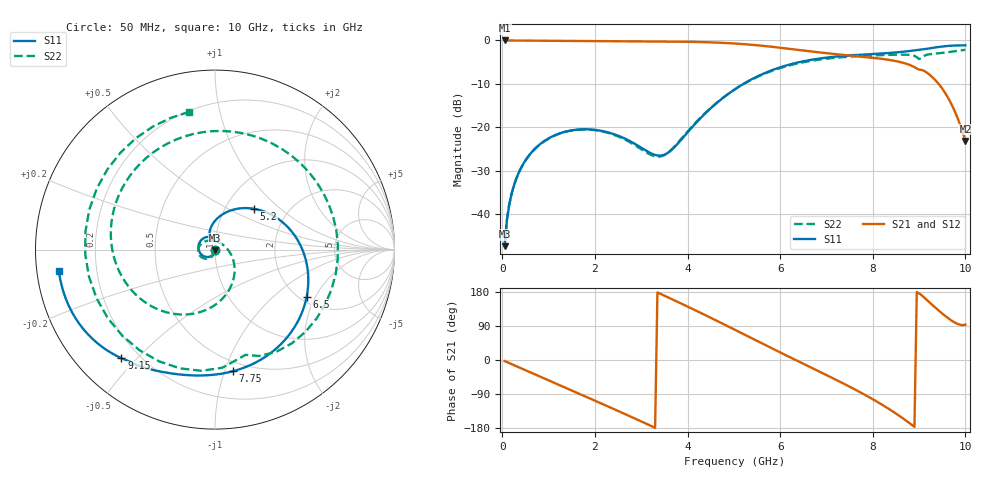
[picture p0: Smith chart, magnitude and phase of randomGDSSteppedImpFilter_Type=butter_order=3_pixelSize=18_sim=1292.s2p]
! freq	dB(S11)	phase(S11)	dB(S12)	phase(S12)
!  dB(S21)	phase(S21)	dB(S22)	phase(S22)
!S-par simulation data
#  GHz  S  DB  R 50
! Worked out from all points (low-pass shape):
!   200 points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, 50 MHz to 10 GHz, reference 50 ohm
!   highest |S21| = -0.01 dB at 50 MHz (marker M1); lowest = -23.2 dB at 10 GHz (marker M2)
!   |S21| within 3 dB of the highest: start of sweep to 7.057 GHz
!   lowest |S11| = -47.4 dB at 50 MHz (marker M3), VSWR 1.01, Z = 50 - j0.426 ohm
!   |S11| at or under -10 dB: start of sweep to 5.209 GHz
!   |S22| runs from -47.3 to -2.1 dB; largest |S21 - S12| = 0
!   S11 on the Smith chart (normalised r, x): 50 MHz: 1.00, -0.01; 5.2 GHz: 1.35, +0.68; 6.5 GHz: 2.16, -1.71; 7.75 GHz: 0.42, -1.07; 9.15 GHz: 0.14, -0.45; 10 GHz: 0.07, -0.07
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0.05  -47.40 -91.9  -0.01 -2.7  -0.01 -2.7  -47.25 -91.1
0.2  -35.39 -101.7  -0.02 -10.8  -0.02 -10.8  -35.32 -98.7
0.5  -27.63 -120.4  -0.04 -26.9  -0.04 -26.9  -27.68 -113.2
1.15  -21.78 -161.1  -0.10 -61.7  -0.10 -61.7  -21.83 -144.0
1.75  -20.47 161.7  -0.15 -93.8  -0.15 -93.8  -20.51 -172.0
2.65  -22.63 109.9  -0.19 -142.7  -0.19 -142.7  -22.86 141.2
3.4  -26.53 102.2  -0.24 175.5  -0.24 175.5  -26.77 61.3
4.3  -17.70 99.0  -0.38 123.4  -0.38 123.4  -17.56 -36.6
5.05  -11.06 55.6  -0.73 78.1  -0.73 78.1  -11.09 -82.0
5.2  -10.06 46.4  -0.84 68.9  -0.84 68.9  -10.12 -91.0
5.85  -6.75 7.5  -1.50 29.2  -1.50 29.2  -6.90 -130.9
6.5  -4.81 -27.5  -2.33 -9.9  -2.33 -9.9  -5.03 -173.6
6.7  -4.41 -37.3  -2.58 -21.8  -2.58 -21.8  -4.65 172.4
7.2  -3.73 -59.9  -3.16 -51.8  -3.16 -51.8  -3.99 134.8
7.75  -3.28 -81.7  -3.73 -86.5  -3.73 -86.5  -3.58 86.9
8.35  -2.89 -102.7  -4.48 -129.3  -4.48 -129.3  -3.32 21.7
8.7  -2.56 -114.4  -5.30 -158.3  -5.30 -158.3  -3.28 -26.3
9.15  -1.95 -130.8  -7.28 160.2  -7.28 160.2  -3.35 -96.4
9.35  -1.62 -139.2  -9.13 138.4  -9.13 138.4  -3.04 -137.1
9.55  -1.35 -148.7  -11.88 117.7  -11.88 117.7  -2.81 -177.8
9.75  -1.18 -158.9  -15.83 100.3  -15.83 100.3  -2.52 143.4
10  -1.13 -172.1  -23.16 93.4  -23.16 93.4  -2.15 100.5
